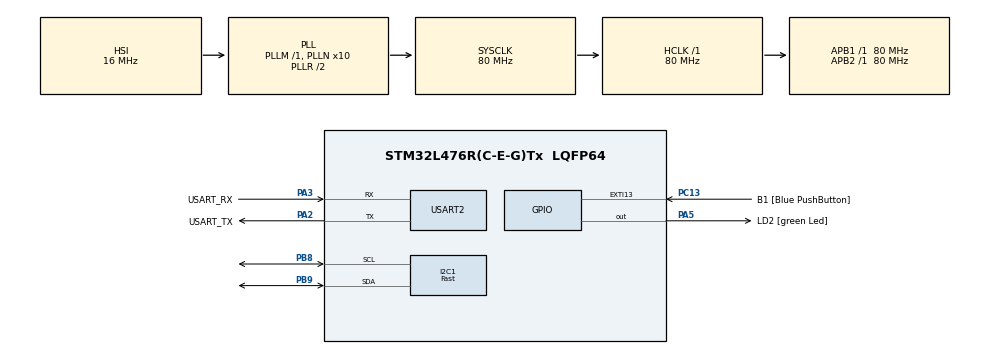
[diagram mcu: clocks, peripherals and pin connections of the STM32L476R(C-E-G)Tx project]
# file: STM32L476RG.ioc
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Dma.I2C1_TX.0.Direction=DMA_MEMORY_TO_PERIPH
Dma.I2C1_TX.0.Instance=DMA1_Channel6
Dma.I2C1_TX.0.MemDataAlignment=DMA_MDATAALIGN_BYTE
Dma.I2C1_TX.0.MemInc=DMA_MINC_ENABLE
Dma.I2C1_TX.0.Mode=DMA_NORMAL
Dma.I2C1_TX.0.PeriphDataAlignment=DMA_PDATAALIGN_BYTE
Dma.I2C1_TX.0.PeriphInc=DMA_PINC_DISABLE
Dma.I2C1_TX.0.Priority=DMA_PRIORITY_LOW
Dma.Request0=I2C1_TX
I2C1.I2C_Speed_Mode=I2C_Fast
I2C1.Timing=0x00702991
Mcu.Family=STM32L4
Mcu.Name=STM32L476R(C-E-G)Tx
Mcu.Package=LQFP64
NVIC.DMA1_Channel6_IRQn=true\:0\:0\:false\:false\:true\:false\:true\:true
NVIC.PriorityGroup=NVIC_PRIORITYGROUP_4
PA13\ (JTMS-SWDIO).GPIO_Label=TMS
PA13\ (JTMS-SWDIO).Mode=Serial_Wire
PA13\ (JTMS-SWDIO).Signal=SYS_JTMS-SWDIO
PA14\ (JTCK-SWCLK).GPIO_Label=TCK
PA14\ (JTCK-SWCLK).Mode=Serial_Wire
PA14\ (JTCK-SWCLK).Signal=SYS_JTCK-SWCLK
PA2.GPIO_Label=USART_TX
PA2.GPIO_Mode=GPIO_MODE_AF_PP
PA2.GPIO_PuPd=GPIO_NOPULL
PA2.GPIO_Speed=GPIO_SPEED_FREQ_VERY_HIGH
PA2.Mode=Asynchronous
PA2.Signal=USART2_TX
PA3.GPIO_Label=USART_RX
PA3.GPIO_Mode=GPIO_MODE_AF_PP
PA3.GPIO_PuPd=GPIO_NOPULL
PA3.GPIO_Speed=GPIO_SPEED_FREQ_VERY_HIGH
PA3.Mode=Asynchronous
PA3.Signal=USART2_RX
PA5.GPIO_Label=LD2 [green Led]
PA5.GPIO_ModeDefaultOutputPP=GPIO_MODE_OUTPUT_PP
PA5.GPIO_PuPd=GPIO_NOPULL
PA5.GPIO_Speed=GPIO_SPEED_FREQ_LOW
PA5.Signal=GPIO_Output
PB3\ (JTDO-TRACESWO).GPIO_Label=SWO
PB3\ (JTDO-TRACESWO).Signal=SYS_JTDO-SWO
PB8.Mode=I2C
PB8.Signal=I2C1_SCL
PB9.Mode=I2C
PB9.Signal=I2C1_SDA
PC13.GPIO_Label=B1 [Blue PushButton]
PC13.GPIO_ModeDefaultEXTI=GPIO_MODE_IT_FALLING
PC13.GPIO_PuPd=GPIO_NOPULL
PC13.Signal=GPXTI13
PC14-OSC32_IN\ (PC14).Mode=LSE-External-Oscillator
PC14-OSC32_IN\ (PC14).Signal=RCC_OSC32_IN
PC15-OSC32_OUT\ (PC15).Mode=LSE-External-Oscillator
PC15-OSC32_OUT\ (PC15).Signal=RCC_OSC32_OUT
PH0-OSC_IN\ (PH0).Signal=RCC_OSC_IN
PH1-OSC_OUT\ (PH1).Signal=RCC_OSC_OUT
ProjectManager.HeapSize=0x200
ProjectManager.StackSize=0x400
ProjectManager.TargetToolchain=STM32CubeIDE
RCC.ADCFreq_Value=64000000
RCC.AHBFreq_Value=80000000
RCC.APB1Freq_Value=80000000
RCC.APB1TimFreq_Value=80000000
RCC.APB2Freq_Value=80000000
RCC.APB2TimFreq_Value=80000000
RCC.CortexFreq_Value=80000000
RCC.HCLKFreq_Value=80000000
RCC.HSE_VALUE=8000000
RCC.HSI_VALUE=16000000
RCC.MSI_VALUE=4000000
RCC.PLLN=10
RCC.PLLSourceVirtual=RCC_PLLSOURCE_HSI
RCC.PREFETCH_ENABLE=1
RCC.SYSCLKFreq_VALUE=80000000
RCC.SYSCLKSource=RCC_SYSCLKSOURCE_PLLCLK
RCC.USBFreq_Value=64000000
RCC.VCOOutputFreq_Value=160000000
USART2.VirtualMode-Asynchronous=VM_ASYNC
board=NUCLEO-L476RG

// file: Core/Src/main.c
/* USER CODE BEGIN Header */
/**
  ******************************************************************************
  * @file           : main.c
  * @brief          : Main program body
  ******************************************************************************
  * @attention
  *
  * Copyright (c) 2023 STMicroelectronics.
  * All rights reserved.
  *
  * This software is licensed under terms that can be found in the LICENSE file
  * in the root directory of this software component.
  * If no LICENSE file comes with this software, it is provided AS-IS.
  *
  ******************************************************************************
  */
/* USER CODE END Header */
#include "main.h"

/* USER CODE BEGIN Includes */
#include "string.h"
#include "ssd1306.h"
#include "fonts.h"
/* USER CODE END Includes */

/* USER CODE BEGIN PTD */
#define SSD1306_WRITECOMMAND(command)      ssd1306_I2C_Write(SSD1306_I2C_ADDR, 0x00, (command))
/* USER CODE END PTD */

I2C_HandleTypeDef hi2c1;
DMA_HandleTypeDef hdma_i2c1_tx;

UART_HandleTypeDef huart2;

void SystemClock_Config(void);
static void MX_GPIO_Init(void);
static void MX_DMA_Init(void);
static void MX_USART2_UART_Init(void);
static void MX_I2C1_Init(void);

/* USER CODE BEGIN 0 */
void ssd1306_I2C_WriteMulti(uint8_t address, uint8_t reg, uint8_t* data, uint16_t count);
void ssd1306_I2C_Write(uint8_t address, uint8_t reg, uint8_t data);
/* USER CODE END 0 */

int main(void)
{

  /* MCU Configuration--------------------------------------------------------*/

  /* Reset of all peripherals, Initializes the Flash interface and the Systick. */
  HAL_Init();

  /* Configure the system clock */
  SystemClock_Config();

  /* Initialize all configured peripherals */
  MX_GPIO_Init();
  MX_DMA_Init();
  MX_USART2_UART_Init();
  MX_I2C1_Init();
  /* USER CODE BEGIN 2 */
  SSD1306_Init();
  /* USER CODE END 2 */

  /* Infinite loop */
  while (1)
  {

    /* USER CODE BEGIN 3 */
	  HAL_Delay(1000);
	  SSD1306_WRITECOMMAND(0xAF);
	  SSD1306_Fill(0);
	  SSD1306_GotoXY(0, 0);
	  SSD1306_DrawRectangle(0,0,127,31,1);
	  SSD1306_UpdateScreen();

	  HAL_Delay(1000);
	  SSD1306_Fill(0);
	  SSD1306_GotoXY(0, 0);
	  SSD1306_Puts("SAMJIN LND", &Font_7x10, 1);
	  SSD1306_UpdateScreen();

	  HAL_Delay(1000);
	  SSD1306_Fill(0);
	  SSD1306_GotoXY(0, 0);
	  SSD1306_Puts("KT&G", &Font_7x10, 1);
	  SSD1306_UpdateScreen();

	 // HAL_Delay(1000);
	 // SSD1306_Fill(0);
	 // SSD1306_DrawFilledTriangle(45,0, 0,15, 95,15,1);
	 // SSD1306_UpdateScreen();
  }
  /* USER CODE END 3 */
}

void SystemClock_Config(void)
{
  RCC_OscInitTypeDef RCC_OscInitStruct = {0};
  RCC_ClkInitTypeDef RCC_ClkInitStruct = {0};

  /** Configure the main internal regulator output voltage
  */
  if (HAL_PWREx_ControlVoltageScaling(PWR_REGULATOR_VOLTAGE_SCALE1) != HAL_OK)
  {
    Error_Handler();
  }

  /** Initializes the RCC Oscillators according to the specified parameters
  * in the RCC_OscInitTypeDef structure.
  */
  RCC_OscInitStruct.OscillatorType = RCC_OSCILLATORTYPE_HSI;
  RCC_OscInitStruct.HSIState = RCC_HSI_ON;
  RCC_OscInitStruct.HSICalibrationValue = RCC_HSICALIBRATION_DEFAULT;
  RCC_OscInitStruct.PLL.PLLState = RCC_PLL_ON;
  RCC_OscInitStruct.PLL.PLLSource = RCC_PLLSOURCE_HSI;
  RCC_OscInitStruct.PLL.PLLM = 1;
  RCC_OscInitStruct.PLL.PLLN = 10;
  RCC_OscInitStruct.PLL.PLLP = RCC_PLLP_DIV7;
  RCC_OscInitStruct.PLL.PLLQ = RCC_PLLQ_DIV2;
  RCC_OscInitStruct.PLL.PLLR = RCC_PLLR_DIV2;
  if (HAL_RCC_OscConfig(&RCC_OscInitStruct) != HAL_OK)
  {
    Error_Handler();
  }

  /** Initializes the CPU, AHB and APB buses clocks
  */
  RCC_ClkInitStruct.ClockType = RCC_CLOCKTYPE_HCLK|RCC_CLOCKTYPE_SYSCLK
                              |RCC_CLOCKTYPE_PCLK1|RCC_CLOCKTYPE_PCLK2;
  RCC_ClkInitStruct.SYSCLKSource = RCC_SYSCLKSOURCE_PLLCLK;
  RCC_ClkInitStruct.AHBCLKDivider = RCC_SYSCLK_DIV1;
  RCC_ClkInitStruct.APB1CLKDivider = RCC_HCLK_DIV1;
  RCC_ClkInitStruct.APB2CLKDivider = RCC_HCLK_DIV1;

  if (HAL_RCC_ClockConfig(&RCC_ClkInitStruct, FLASH_LATENCY_4) != HAL_OK)
  {
    Error_Handler();
  }
}

static void MX_I2C1_Init(void)
{

  hi2c1.Instance = I2C1;
  hi2c1.Init.Timing = 0x00702991;
  hi2c1.Init.OwnAddress1 = 0;
  hi2c1.Init.AddressingMode = I2C_ADDRESSINGMODE_7BIT;
  hi2c1.Init.DualAddressMode = I2C_DUALADDRESS_DISABLE;
  hi2c1.Init.OwnAddress2 = 0;
  hi2c1.Init.OwnAddress2Masks = I2C_OA2_NOMASK;
  hi2c1.Init.GeneralCallMode = I2C_GENERALCALL_DISABLE;
  hi2c1.Init.NoStretchMode = I2C_NOSTRETCH_DISABLE;
  if (HAL_I2C_Init(&hi2c1) != HAL_OK)
  {
    Error_Handler();
  }

  /** Configure Analogue filter
  */
  if (HAL_I2CEx_ConfigAnalogFilter(&hi2c1, I2C_ANALOGFILTER_ENABLE) != HAL_OK)
  {
    Error_Handler();
  }

  /** Configure Digital filter
  */
  if (HAL_I2CEx_ConfigDigitalFilter(&hi2c1, 0) != HAL_OK)
  {
    Error_Handler();
  }

}

static void MX_USART2_UART_Init(void)
{

  huart2.Instance = USART2;
  huart2.Init.BaudRate = 115200;
  huart2.Init.WordLength = UART_WORDLENGTH_8B;
  huart2.Init.StopBits = UART_STOPBITS_1;
  huart2.Init.Parity = UART_PARITY_NONE;
  huart2.Init.Mode = UART_MODE_TX_RX;
  huart2.Init.HwFlowCtl = UART_HWCONTROL_NONE;
  huart2.Init.OverSampling = UART_OVERSAMPLING_16;
  huart2.Init.OneBitSampling = UART_ONE_BIT_SAMPLE_DISABLE;
  huart2.AdvancedInit.AdvFeatureInit = UART_ADVFEATURE_NO_INIT;
  if (HAL_UART_Init(&huart2) != HAL_OK)
  {
    Error_Handler();
  }

}

static void MX_DMA_Init(void)
{

  /* DMA controller clock enable */
  __HAL_RCC_DMA1_CLK_ENABLE();

  /* DMA interrupt init */
  /* DMA1_Channel6_IRQn interrupt configuration */
  HAL_NVIC_SetPriority(DMA1_Channel6_IRQn, 0, 0);
  HAL_NVIC_EnableIRQ(DMA1_Channel6_IRQn);

}

static void MX_GPIO_Init(void)
{
  GPIO_InitTypeDef GPIO_InitStruct = {0};

  /* GPIO Ports Clock Enable */
  __HAL_RCC_GPIOC_CLK_ENABLE();
  __HAL_RCC_GPIOH_CLK_ENABLE();
  __HAL_RCC_GPIOA_CLK_ENABLE();
  __HAL_RCC_GPIOB_CLK_ENABLE();

  /*Configure GPIO pin Output Level */
  HAL_GPIO_WritePin(LD2_GPIO_Port, LD2_Pin, GPIO_PIN_RESET);

  /*Configure GPIO pin : B1_Pin */
  GPIO_InitStruct.Pin = B1_Pin;
  GPIO_InitStruct.Mode = GPIO_MODE_IT_FALLING;
  GPIO_InitStruct.Pull = GPIO_NOPULL;
  HAL_GPIO_Init(B1_GPIO_Port, &GPIO_InitStruct);

  /*Configure GPIO pin : LD2_Pin */
  GPIO_InitStruct.Pin = LD2_Pin;
  GPIO_InitStruct.Mode = GPIO_MODE_OUTPUT_PP;
  GPIO_InitStruct.Pull = GPIO_NOPULL;
  GPIO_InitStruct.Speed = GPIO_SPEED_FREQ_LOW;
  HAL_GPIO_Init(LD2_GPIO_Port, &GPIO_InitStruct);

}

/* USER CODE BEGIN 4 */
void ssd1306_I2C_WriteMulti(uint8_t address, uint8_t reg, uint8_t* data, uint16_t count) {
	uint8_t dt[count + 1];
	dt[0] = reg;
	uint8_t i;
	for(i = 1; i <= count; i++)
		dt[i] = data[i-1];
	HAL_I2C_Master_Transmit(&hi2c1, address, dt, count, 10);
}

void ssd1306_I2C_Write(uint8_t address, uint8_t reg, uint8_t data) {
	uint8_t dt[2];
	dt[0] = reg;
	dt[1] = data;
	HAL_I2C_Master_Transmit(&hi2c1, address, dt, 2, 10);
}
/* USER CODE END 4 */

void Error_Handler(void)
{
  __disable_irq();
  while (1)
  {
  }
}
